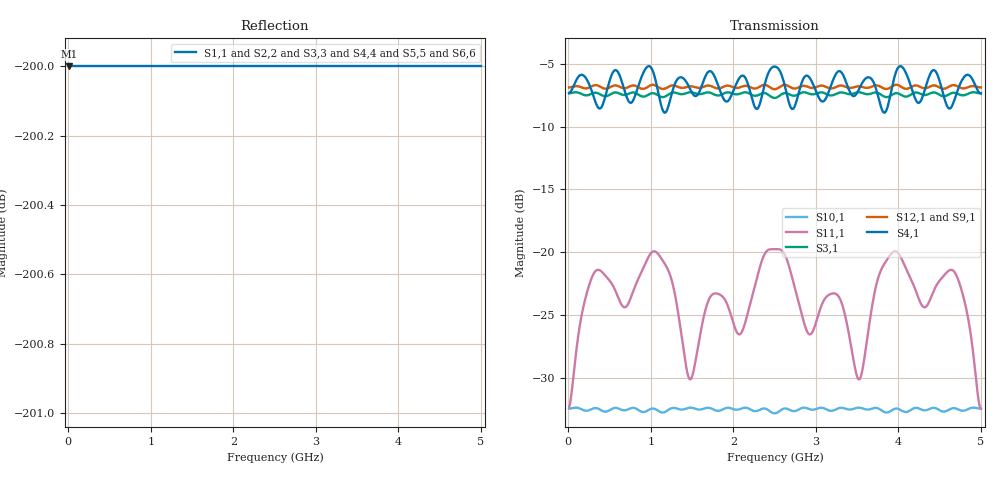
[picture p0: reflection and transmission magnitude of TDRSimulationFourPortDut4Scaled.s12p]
# MHz MA S R 50.0
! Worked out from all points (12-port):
!   500 points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, 10 MHz to 5 GHz, reference 50 ohm
!   strongest paths, dB at 10 MHz, 1.26 GHz, 2.51 GHz, 3.76 GHz, 5 GHz:
!     S4,1: -7.3, -7.2, -5.2, -7.7, -7.4
!     S12,1: -6.9, -6.7, -7.0, -6.8, -6.9
!     S9,1: -6.9, -6.8, -7.2, -6.9, -6.9
!     S3,1: -7.4, -7.3, -7.7, -7.3, -7.4
!     S11,1: -32.4, -22.4, -19.8, -21.9, -32.5
!     S10,1: -32.5, -32.4, -32.8, -32.5, -32.5
!   lowest |S11| = - dB at 10 MHz (marker M1), VSWR 1.00, Z = 50 + j0 ohm
!   |S11| at or under -10 dB: start of sweep to end of sweep
